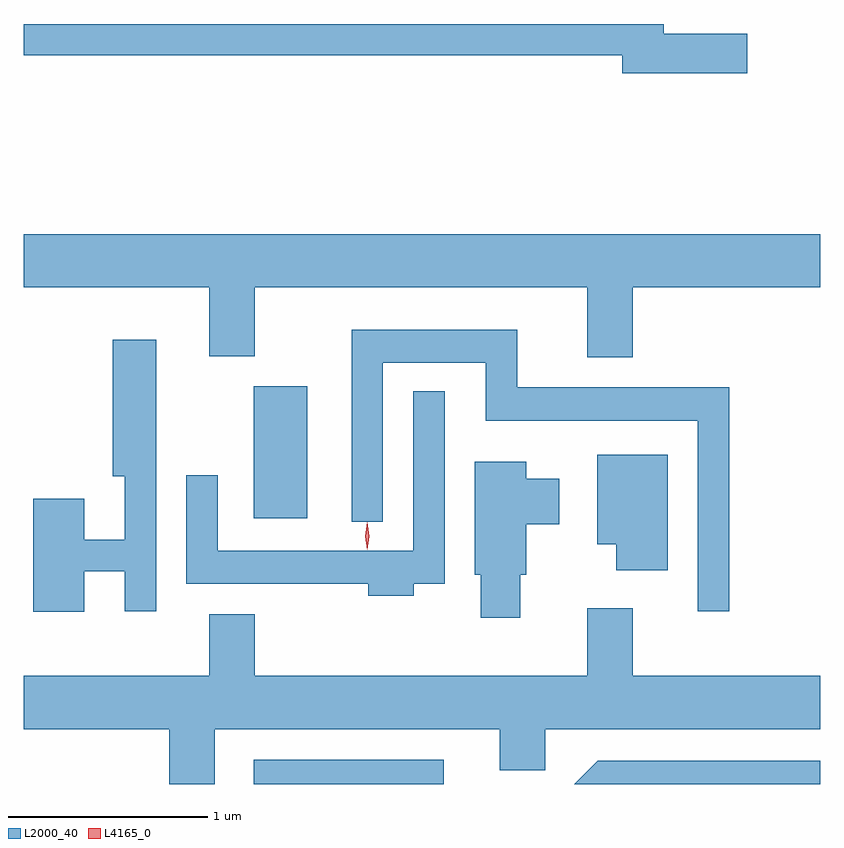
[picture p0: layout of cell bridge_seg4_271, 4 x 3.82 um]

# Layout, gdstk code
import gdstk
lib = gdstk.Library(unit=1e-6, precision=1e-09)
def R(c, l, rs):  # rectangles x0, y0, x1, y1
    for r in rs: c.add(gdstk.rectangle(r[:2], r[2:], *l))
def P(c, l, *ps):  # polygons
    for p in ps: c.add(gdstk.Polygon(p, *l))
L2000_40 = (2000, 40)
L4165_0 = (4165, 0)

bridge_seg4_271 = lib.new_cell('bridge_seg4_271')
R(bridge_seg4_271, L2000_40, [(521.256,1334.421,522.209,1334.544), (521.256,1335.756,521.524,1336.419)])
P(bridge_seg4_271, L2000_40, [(523.734,1338.189),(523.314,1338.189),(523.314,1338.239),(520.1,1338.239),(520.1,1338.081),(523.106,1338.081),(523.106,1337.991),(523.734,1337.991)],
  [(523.159,1336.916),(524.1,1336.916),(524.1,1337.184),(520.1,1337.184),(520.1,1336.916),(521.031,1336.916),(521.031,1336.571),(521.259,1336.571),(521.259,1336.916),(522.931,1336.916),(522.931,1336.566),(523.159,1336.566)],
  [(523.644,1336.414),(522.579,1336.414),(522.579,1336.704),(521.746,1336.704),(521.746,1335.738),(521.904,1335.738),(521.904,1336.536),(522.421,1336.536),(522.421,1336.246),(523.486,1336.246),(523.486,1335.288),(523.644,1335.288)],
  [(520.404,1335.491),(520.606,1335.491),(520.606,1335.288),(520.764,1335.288),(520.764,1336.654),(520.546,1336.654),(520.546,1335.966),(520.606,1335.966),(520.606,1335.649),(520.404,1335.649),(520.404,1335.854),(520.146,1335.854),(520.146,1335.286),(520.404,1335.286)],
  [(522.059,1335.426),(522.214,1335.426),(522.214,1336.393),(522.056,1336.393),(522.056,1335.594),(521.074,1335.594),(521.074,1335.973),(520.916,1335.973),(520.916,1335.426),(521.831,1335.426),(521.831,1335.366),(522.059,1335.366)],
  [(523.334,1336.074),(522.981,1336.074),(522.981,1335.626),(523.076,1335.626),(523.076,1335.496),(523.334,1335.496)],
  [(522.594,1335.471),(522.624,1335.471),(522.624,1335.726),(522.789,1335.726),(522.789,1335.954),(522.624,1335.954),(522.624,1336.039),(522.366,1336.039),(522.366,1335.471),(522.396,1335.471),(522.396,1335.256),(522.594,1335.256)],
  [(521.059,1334.696),(522.491,1334.696),(522.491,1334.491),(522.719,1334.491),(522.719,1334.696),(524.1,1334.696),(524.1,1334.964),(523.159,1334.964),(523.159,1335.304),(522.931,1335.304),(522.931,1334.964),(521.259,1334.964),(521.259,1335.274),(521.031,1335.274),(521.031,1334.964),(520.1,1334.964),(520.1,1334.696),(520.831,1334.696),(520.831,1334.421),(521.059,1334.421)],
  [(524.1,1334.539),(522.984,1334.539),(522.866,1334.421),(524.1,1334.421)])
P(bridge_seg4_271, L4165_0, [(521.825,1335.599),(521.824,1335.6),(521.815,1335.666),(521.824,1335.732),(521.825,1335.733),(521.825,1335.732),(521.835,1335.666),(521.825,1335.6)],
  [(521.825,1335.597),(521.824,1335.598),(521.815,1335.666),(521.824,1335.736),(521.825,1335.736),(521.826,1335.736),(521.835,1335.666),(521.826,1335.598)])

lib.write_gds('bridge_seg4_271.gds')
